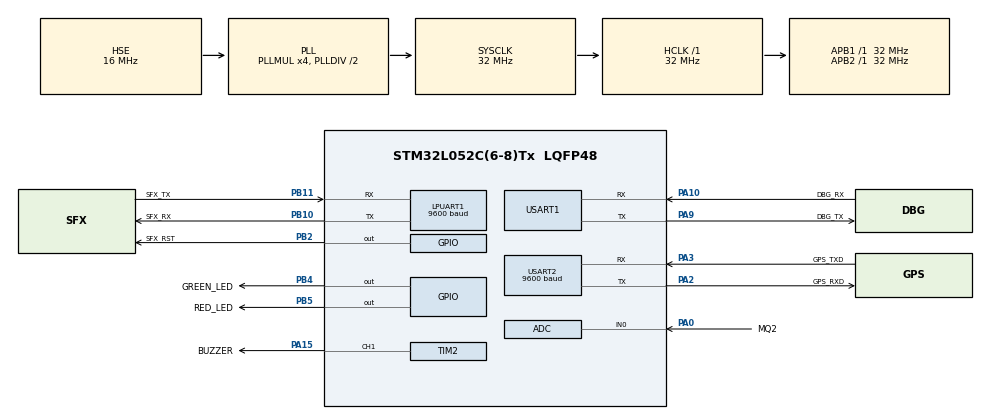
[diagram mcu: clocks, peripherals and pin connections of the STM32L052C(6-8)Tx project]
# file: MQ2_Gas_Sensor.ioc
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ADC.ContinuousConvMode=ENABLE
ADC.DMAContinuousRequests=ENABLE
ADC.EOCSelection=ADC_EOC_SINGLE_CONV
ADC.SamplingTime=ADC_SAMPLETIME_79CYCLES_5
Dma.ADC.0.Direction=DMA_PERIPH_TO_MEMORY
Dma.ADC.0.Instance=DMA1_Channel1
Dma.ADC.0.MemDataAlignment=DMA_MDATAALIGN_WORD
Dma.ADC.0.MemInc=DMA_MINC_ENABLE
Dma.ADC.0.Mode=DMA_CIRCULAR
Dma.ADC.0.PeriphDataAlignment=DMA_PDATAALIGN_WORD
Dma.ADC.0.PeriphInc=DMA_PINC_DISABLE
Dma.ADC.0.Priority=DMA_PRIORITY_LOW
Dma.Request0=ADC
LPUART1.BaudRate=9600
LPUART1.WordLength=UART_WORDLENGTH_8B
Mcu.Family=STM32L0
Mcu.Name=STM32L052C(6-8)Tx
Mcu.Package=LQFP48
NVIC.ADC1_COMP_IRQn=true\:0\:0\:false\:false\:true\:true\:true
NVIC.DMA1_Channel1_IRQn=true\:0\:0\:false\:false\:true\:false\:true
NVIC.RNG_LPUART1_IRQn=true\:0\:0\:false\:false\:true\:true\:true
NVIC.USART1_IRQn=true\:0\:0\:false\:false\:true\:true\:true
NVIC.USART2_IRQn=true\:0\:0\:false\:false\:true\:true\:true
PA0.GPIO_Label=MQ2
PA0.Mode=IN0
PA0.Signal=ADC_IN0
PA10.GPIO_Label=DBG_RX
PA10.Mode=Asynchronous
PA10.Signal=USART1_RX
PA15.GPIO_Label=BUZZER
PA15.Signal=S_TIM2_CH1
PA2.GPIO_Label=GPS_RXD
PA2.Mode=Asynchronous
PA2.Signal=USART2_TX
PA3.GPIO_Label=GPS_TXD
PA3.Mode=Asynchronous
PA3.Signal=USART2_RX
PA9.GPIO_Label=DBG_TX
PA9.Mode=Asynchronous
PA9.Signal=USART1_TX
PB10.GPIO_Label=SFX_RX
PB10.Mode=Asynchronous
PB10.Signal=LPUART1_TX
PB11.GPIO_Label=SFX_TX
PB11.Mode=Asynchronous
PB11.Signal=LPUART1_RX
PB2.GPIO_Label=SFX_RST
PB2.GPIO_PuPd=GPIO_PULLUP
PB2.Signal=GPIO_Output
PB4.GPIO_Label=GREEN_LED
PB4.Signal=GPIO_Output
PB5.GPIO_Label=RED_LED
PB5.Signal=GPIO_Output
PH0-OSC_IN.Mode=HSE-External-Oscillator
PH0-OSC_IN.Signal=RCC_OSC_IN
PH1-OSC_OUT.Mode=HSE-External-Oscillator
PH1-OSC_OUT.Signal=RCC_OSC_OUT
ProjectManager.HeapSize=0x200
ProjectManager.StackSize=0x400
ProjectManager.TargetToolchain=STM32CubeIDE
RCC.AHBFreq_Value=32000000
RCC.APB1Freq_Value=32000000
RCC.APB1TimFreq_Value=32000000
RCC.APB2Freq_Value=32000000
RCC.APB2TimFreq_Value=32000000
RCC.HCLKFreq_Value=32000000
RCC.HSE_VALUE=16000000
RCC.HSI16_VALUE=16000000
RCC.HSI48_VALUE=48000000
RCC.HSI_VALUE=16000000
RCC.LSE_VALUE=32768
RCC.MSI_VALUE=2097000
RCC.PLLMUL=RCC_PLLMUL_4
RCC.PLLSourceVirtual=RCC_PLLSOURCE_HSE
RCC.SYSCLKFreq_VALUE=32000000
RCC.SYSCLKSource=RCC_SYSCLKSOURCE_PLLCLK
RCC.VCOOutputFreq_Value=64000000
SH.S_TIM2_CH1.0=TIM2_CH1,PWM Generation1 CH1
TIM2.AutoReloadPreload=TIM_AUTORELOAD_PRELOAD_ENABLE
TIM2.Channel-PWM\ Generation1\ CH1=TIM_CHANNEL_1
TIM2.Period=200-1
TIM2.Prescaler=320-1
USART1.VirtualMode-Asynchronous=VM_ASYNC
USART2.BaudRate=9600
USART2.VirtualMode-Asynchronous=VM_ASYNC
board=custom

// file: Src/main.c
/* USER CODE BEGIN Header */
/**
 ******************************************************************************
 * @file           : main.c
 * @brief          : Main program body
 ******************************************************************************
 * @attention
 *
 * <h2><center>&copy; Copyright (c) 2019 STMicroelectronics.
 * All rights reserved.</center></h2>
 *
 * This software component is licensed by ST under BSD 3-Clause license,
 * the "License"; You may not use this file except in compliance with the
 * License. You may obtain a copy of the License at:
 *                        opensource.org/licenses/BSD-3-Clause
 *
 ******************************************************************************
 */

/*
 * main.c
 *
 * Warefab Konnect STM32L0-SIGFOX Development Board
 *
 *
 * MQ-2 gas sensor demo
 *
 * Created on: Feb 26, 2020
 *
 * Author: Muchiri John
 * (c) wwww.warefab.com
 *
 * This software component is licensed by warefab under BSD 3-Clause license,
 * the "License"; You may not use this file except in compliance with the
 * License. You may obtain a copy of the License at:
 *
 * opensource.org/licenses/BSD-3-Clause
 *
 */

#include <stdio.h>
#include <stdlib.h>
#include <math.h>
/* USER CODE END Header */

#include "main.h"
#include "adc.h"
#include "dma.h"
#include "usart.h"
#include "tim.h"
#include "gpio.h"

/* USER CODE BEGIN Includes */
#include "sigfox.h"
#include "buzzer.h"
/* USER CODE END Includes */

/* USER CODE BEGIN PV */
static const char NMEA_NONE[] =
		"$PMTK314,0,0,0,0,0,0,0,0,0,0,0,0,0,0,0,0,0,0,0*28\r\n";

enum {
	adc_buf_len = 16
};
uint32_t adc_data[adc_buf_len];
uint16_t mq2_output = 0;

char buffer[20] = { 0 };

uint8_t buzzer_flag = 0;
uint8_t b_on = 0;
uint8_t b_off = 0;

uint16_t sgfx = 0;
uint8_t t_sgfx = 0;
/* USER CODE END PV */

void SystemClock_Config(void);
/* USER CODE BEGIN PFP */
inline uint8_t adcToPercent(uint16_t);
/* USER CODE END PFP */

int main(void) {

	/* MCU Configuration--------------------------------------------------------*/

	/* Reset of all peripherals, Initializes the Flash interface and the Systick. */
	HAL_Init();

	/* Configure the system clock */
	SystemClock_Config();

	/* Initialize all configured peripherals */
	MX_GPIO_Init();
	MX_DMA_Init();
	MX_LPUART1_UART_Init();
	MX_USART1_UART_Init();
	MX_USART2_UART_Init();
	MX_ADC_Init();
	MX_TIM2_Init();
	/* USER CODE BEGIN 2 */
	//disable gps nmea output
	usart_puts(&huart2, (char*) NMEA_NONE);
	//reset sigfox module
	resetSigfoxModule();
	//print wisol info, ID/PAC
	getSigfoxPACID();

	HAL_ADC_Start_DMA(&hadc, adc_data, adc_buf_len);

	GREEN_LED_GPIO_Port->BSRR = GREEN_LED_Pin;

	HAL_Delay(20000);
	/* USER CODE END 2 */

	/* Infinite loop */
	/* USER CODE BEGIN WHILE */
	while (1) {
		sprintf(buffer, "MQ2: %d\r\n", mq2_output);
		usart_puts(&huart1, buffer);
		if (mq2_output > 1400) {
			if (buzzer_flag == 0) {
				RED_LED_GPIO_Port->BSRR = RED_LED_Pin;
				GREEN_LED_GPIO_Port->BRR = GREEN_LED_Pin;
				setBuzzerFreq(800);
				buzzer_flag = 1;
			}
		} else {
			if (buzzer_flag == 1) {
				GREEN_LED_GPIO_Port->BSRR = GREEN_LED_Pin;
				RED_LED_GPIO_Port->BRR = RED_LED_Pin;
				stopBuzzer();
				buzzer_flag = 0;
			}
		}
		if (sgfx >= 120) {
			t_sgfx = adcToPercent(mq2_output);
			sprintf(buffer, "%02X", t_sgfx);
			sendSigfoxMessage(buffer);
			sgfx = 0;
		} else {
			sgfx++;
		}
		HAL_Delay(1000);

		/* USER CODE END WHILE */

	}
}

void SystemClock_Config(void) {
	RCC_OscInitTypeDef RCC_OscInitStruct = { 0 };
	RCC_ClkInitTypeDef RCC_ClkInitStruct = { 0 };
	RCC_PeriphCLKInitTypeDef PeriphClkInit = { 0 };

	/** Configure the main internal regulator output voltage
	 */
	__HAL_PWR_VOLTAGESCALING_CONFIG(PWR_REGULATOR_VOLTAGE_SCALE1);
	/** Initializes the CPU, AHB and APB busses clocks
	 */
	RCC_OscInitStruct.OscillatorType = RCC_OSCILLATORTYPE_HSE;
	RCC_OscInitStruct.HSEState = RCC_HSE_ON;
	RCC_OscInitStruct.PLL.PLLState = RCC_PLL_ON;
	RCC_OscInitStruct.PLL.PLLSource = RCC_PLLSOURCE_HSE;
	RCC_OscInitStruct.PLL.PLLMUL = RCC_PLLMUL_4;
	RCC_OscInitStruct.PLL.PLLDIV = RCC_PLLDIV_2;
	if (HAL_RCC_OscConfig(&RCC_OscInitStruct) != HAL_OK) {
		Error_Handler();
	}
	/** Initializes the CPU, AHB and APB busses clocks
	 */
	RCC_ClkInitStruct.ClockType = RCC_CLOCKTYPE_HCLK | RCC_CLOCKTYPE_SYSCLK
			| RCC_CLOCKTYPE_PCLK1 | RCC_CLOCKTYPE_PCLK2;
	RCC_ClkInitStruct.SYSCLKSource = RCC_SYSCLKSOURCE_PLLCLK;
	RCC_ClkInitStruct.AHBCLKDivider = RCC_SYSCLK_DIV1;
	RCC_ClkInitStruct.APB1CLKDivider = RCC_HCLK_DIV1;
	RCC_ClkInitStruct.APB2CLKDivider = RCC_HCLK_DIV1;

	if (HAL_RCC_ClockConfig(&RCC_ClkInitStruct, FLASH_LATENCY_1) != HAL_OK) {
		Error_Handler();
	}
	PeriphClkInit.PeriphClockSelection = RCC_PERIPHCLK_USART1
			| RCC_PERIPHCLK_USART2 | RCC_PERIPHCLK_LPUART1;
	PeriphClkInit.Usart1ClockSelection = RCC_USART1CLKSOURCE_PCLK2;
	PeriphClkInit.Usart2ClockSelection = RCC_USART2CLKSOURCE_PCLK1;
	PeriphClkInit.Lpuart1ClockSelection = RCC_LPUART1CLKSOURCE_PCLK1;
	if (HAL_RCCEx_PeriphCLKConfig(&PeriphClkInit) != HAL_OK) {
		Error_Handler();
	}
}

/* USER CODE BEGIN 4 */
void HAL_ADC_ConvCpltCallback(ADC_HandleTypeDef *hadc) {
	uint8_t x;
	uint32_t adc_val = 0;

	for (x = 0; x < adc_buf_len; x++) {
		adc_val += adc_data[x];
	}
	mq2_output = (uint16_t) (adc_val / adc_buf_len);
}
inline uint8_t adcToPercent(uint16_t val) {
	uint8_t pct = ceil((val * 100) / 4095.0);
	return pct;
}
/* USER CODE END 4 */

void Error_Handler(void) {
}

/************************ (C) COPYRIGHT STMicroelectronics *****END OF FILE****/
